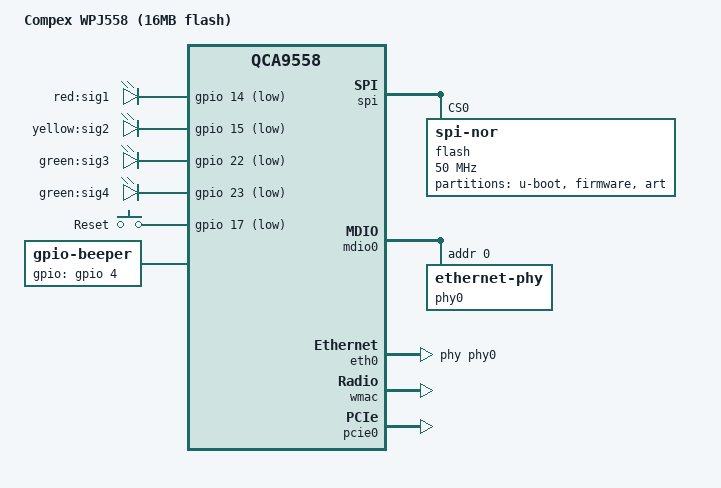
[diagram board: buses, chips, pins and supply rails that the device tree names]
// SPDX-License-Identifier: GPL-2.0-or-later

#include "qca955x.dtsi"

#include <dt-bindings/gpio/gpio.h>
#include <dt-bindings/input/input.h>

/ {
	compatible = "compex,wpj558-16m", "qca,qca9558";
	model = "Compex WPJ558 (16MB flash)";

	aliases {
		label-mac-device = &eth0;
		led-boot = &led_sig4;
		led-failsafe = &led_sig4;
		led-running = &led_sig4;
		led-upgrade = &led_sig4;
	};

	leds {
		compatible = "gpio-leds";

		sig1 {
			label = "red:sig1";
			gpios = <&gpio 14 GPIO_ACTIVE_LOW>;
		};

		sig2 {
			label = "yellow:sig2";
			gpios = <&gpio 15 GPIO_ACTIVE_LOW>;
		};

		sig3 {
			label = "green:sig3";
			gpios = <&gpio 22 GPIO_ACTIVE_LOW>;
		};

		led_sig4: sig4 {
			label = "green:sig4";
			gpios = <&gpio 23 GPIO_ACTIVE_LOW>;
		};
	};

	keys {
		compatible = "gpio-keys";

		reset {
			label = "Reset";
			linux,code = <KEY_RESTART>;
			gpios = <&gpio 17 GPIO_ACTIVE_LOW>;
			debounce-interval = <60>;
		};
	};

	beeper {
		compatible = "gpio-beeper";
		gpios = <&gpio 4 GPIO_ACTIVE_HIGH>;
	};
};

&spi {
	status = "okay";

	flash@0 {
		compatible = "jedec,spi-nor";
		reg = <0>;
		spi-max-frequency = <50000000>;
		m25p,fast-read;

		partitions {
			compatible = "fixed-partitions";
			#address-cells = <1>;
			#size-cells = <1>;

			uboot: partition@0 {
				label = "u-boot";
				reg = <0x000000 0x030000>;
				read-only;
			};

			firmware@30000 {
				compatible = "denx,uimage";
				label = "firmware";
				reg = <0x030000 0xfc0000>;
			};

			art: partition@ff0000 {
				label = "art";
				reg = <0xff0000 0x010000>;
				read-only;
			};
		};
	};
};

&mdio0 {
	status = "okay";

	phy0: ethernet-phy@0 {
		reg = <0>;

		qca,ar8327-initvals = <
			0x04 0x00080080 /* PORT0 PAD MODE CTRL */
			0x0c 0x07600000 /* PORT6 PAD MODE CTRL */
			0x50 0xcc35cc35 /* LED_CTRL0 */
			0x54 0x00000000 /* LED_CTRL1 */
			0x58 0x00000000 /* LED_CTRL2 */
			0x5c 0x03ffff00 /* LED_CTRL3 */
			0x7c 0x0000007e /* PORT0_STATUS */
			0x94 0x0000007e /* PORT6 STATUS */
		>;
	};
};

&eth0 {
	status = "okay";

	pll-data = <0x56000000 0x00000101 0x00001616>;
	phy-handle = <&phy0>;

	nvmem-cells = <&macaddr_uboot_2e010>;
	nvmem-cell-names = "mac-address";
};

&wmac {
	status = "okay";

	mtd-cal-data = <&art 0x1000>;
};

&pcie0 {
	status = "okay";
};

&uboot {
	compatible = "nvmem-cells";
	#address-cells = <1>;
	#size-cells = <1>;

	macaddr_uboot_2e010: macaddr@2e010 {
		reg = <0x2e010 0x6>;
	};
};
